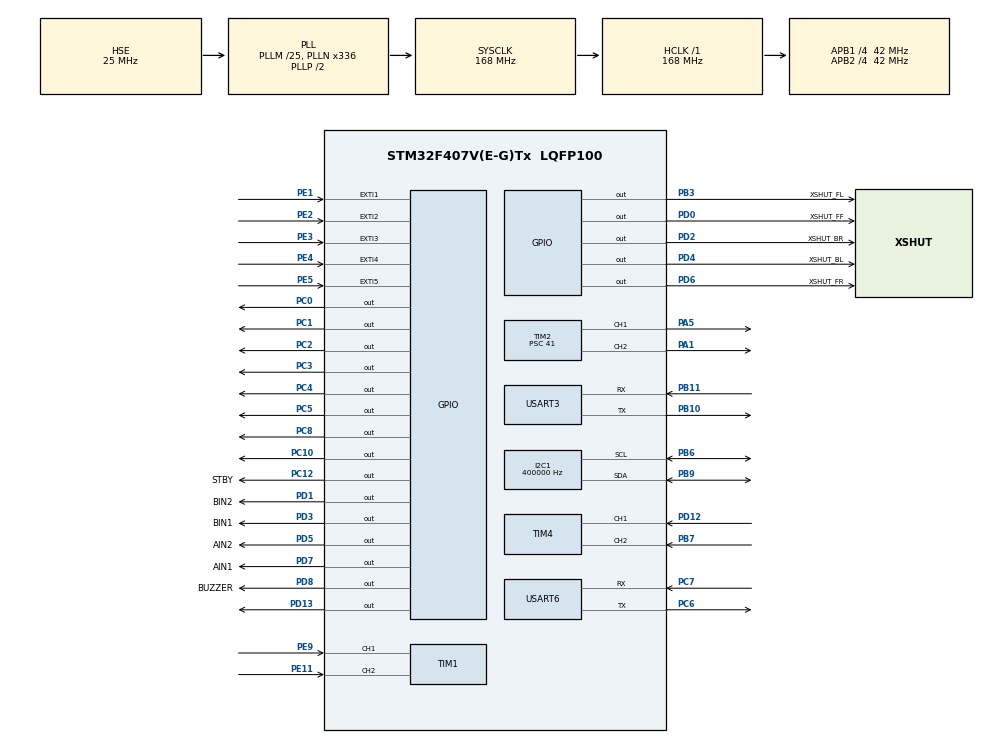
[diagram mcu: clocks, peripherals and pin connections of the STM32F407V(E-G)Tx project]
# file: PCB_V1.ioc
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Dma.Request0=USART3_RX
Dma.USART3_RX.0.Direction=DMA_PERIPH_TO_MEMORY
Dma.USART3_RX.0.FIFOMode=DMA_FIFOMODE_DISABLE
Dma.USART3_RX.0.Instance=DMA1_Stream1
Dma.USART3_RX.0.MemDataAlignment=DMA_MDATAALIGN_BYTE
Dma.USART3_RX.0.MemInc=DMA_MINC_ENABLE
Dma.USART3_RX.0.Mode=DMA_NORMAL
Dma.USART3_RX.0.PeriphDataAlignment=DMA_PDATAALIGN_BYTE
Dma.USART3_RX.0.PeriphInc=DMA_PINC_DISABLE
Dma.USART3_RX.0.Priority=DMA_PRIORITY_LOW
I2C1.AddressingMode=I2C_ADDRESSINGMODE_7BIT
I2C1.ClockSpeed=400000
I2C1.DualAddressMode=I2C_DUALADDRESS_DISABLE
I2C1.GeneralCallMode=I2C_GENERALCALL_DISABLE
I2C1.I2C_Mode=I2C_Fast
I2C1.NoStretchMode=I2C_NOSTRETCH_ENABLE
I2C1.OwnAddress=0
Mcu.Family=STM32F4
Mcu.Name=STM32F407V(E-G)Tx
Mcu.Package=LQFP100
NVIC.DMA1_Stream1_IRQn=true\:0\:0\:true\:false\:true\:false\:true\:true
NVIC.EXTI1_IRQn=true\:0\:0\:false\:false\:true\:true\:true\:true
NVIC.EXTI2_IRQn=true\:0\:0\:false\:false\:true\:true\:true\:true
NVIC.EXTI3_IRQn=true\:0\:0\:false\:false\:true\:true\:true\:true
NVIC.EXTI4_IRQn=true\:0\:0\:false\:false\:true\:true\:true\:true
NVIC.EXTI9_5_IRQn=true\:0\:0\:false\:false\:true\:true\:true\:true
NVIC.PriorityGroup=NVIC_PRIORITYGROUP_4
NVIC.TIM1_BRK_TIM9_IRQn=true\:2\:0\:true\:false\:true\:true\:true\:true
NVIC.TIM1_UP_TIM10_IRQn=true\:3\:0\:true\:false\:true\:true\:true\:true
PA1.Signal=S_TIM2_CH2
PA13.Mode=Serial_Wire
PA13.Signal=SYS_JTMS-SWDIO
PA14.Mode=Serial_Wire
PA14.Signal=SYS_JTCK-SWCLK
PA5.Signal=S_TIM2_CH1_ETR
PB10.GPIO_PuPd=GPIO_PULLUP
PB10.Mode=Asynchronous
PB10.Signal=USART3_TX
PB11.GPIO_PuPd=GPIO_PULLUP
PB11.Mode=Asynchronous
PB11.Signal=USART3_RX
PB3.GPIO_Label=XSHUT_FL
PB3.Signal=GPIO_Output
PB6.GPIO_Pu=GPIO_NOPULL
PB6.Mode=I2C
PB6.Signal=I2C1_SCL
PB7.Signal=S_TIM4_CH2
PB9.GPIO_Pu=GPIO_NOPULL
PB9.Mode=I2C
PB9.Signal=I2C1_SDA
PC0.Signal=GPIO_Output
PC1.Signal=GPIO_Output
PC10.Signal=GPIO_Output
PC12.GPIO_Label=STBY
PC12.Signal=GPIO_Output
PC2.Signal=GPIO_Output
PC3.Signal=GPIO_Output
PC4.Signal=GPIO_Output
PC5.Signal=GPIO_Output
PC6.Mode=Asynchronous
PC6.Signal=USART6_TX
PC7.Mode=Asynchronous
PC7.Signal=USART6_RX
PC8.Signal=GPIO_Output
PD0.GPIO_Label=XSHUT_FF
PD0.Signal=GPIO_Output
PD1.GPIO_Label=BIN2
PD1.Signal=GPIO_Output
PD12.Signal=S_TIM4_CH1
PD13.Signal=GPIO_Output
PD2.GPIO_Label=XSHUT_BR
PD2.Signal=GPIO_Output
PD3.GPIO_Label=BIN1
PD3.Signal=GPIO_Output
PD4.GPIO_Label=XSHUT_BL
PD4.Signal=GPIO_Output
PD5.GPIO_Label=AIN2
PD5.Signal=GPIO_Output
PD6.GPIO_Label=XSHUT_FR
PD6.Signal=GPIO_Output
PD7.GPIO_Label=AIN1
PD7.Signal=GPIO_Output
PD8.GPIO_Label=BUZZER
PD8.GPIO_ModeDefaultOutputPP=GPIO_MODE_OUTPUT_OD
PD8.GPIO_PuPd=GPIO_NOPULL
PD8.PinState=GPIO_PIN_SET
PD8.Signal=GPIO_Output
PE1.Signal=GPXTI1
PE11.Signal=S_TIM1_CH2
PE2.Signal=GPXTI2
PE3.Signal=GPXTI3
PE4.Signal=GPXTI4
PE5.Signal=GPXTI5
PE9.Signal=S_TIM1_CH1
PH0-OSC_IN.Mode=HSE-External-Oscillator
PH0-OSC_IN.Signal=RCC_OSC_IN
PH1-OSC_OUT.Mode=HSE-External-Oscillator
PH1-OSC_OUT.Signal=RCC_OSC_OUT
ProjectManager.HeapSize=0x200
ProjectManager.StackSize=0x400
ProjectManager.TargetToolchain=Makefile
RCC.48MHZClocksFreq_Value=84000000
RCC.AHBFreq_Value=168000000
RCC.APB1CLKDivider=RCC_HCLK_DIV4
RCC.APB1Freq_Value=42000000
RCC.APB1TimFreq_Value=84000000
RCC.APB2CLKDivider=RCC_HCLK_DIV4
RCC.APB2Freq_Value=42000000
RCC.APB2TimFreq_Value=84000000
RCC.CortexFreq_Value=168000000
RCC.FLatency=FLASH_LATENCY_5
RCC.HCLKFreq_Value=168000000
RCC.HSE_VALUE=25000000
RCC.HSI_VALUE=16000000
RCC.LSE_VALUE=32768
RCC.PLLM=25
RCC.PLLN=336
RCC.PLLSourceVirtual=RCC_PLLSOURCE_HSE
RCC.SYSCLKFreq_VALUE=168000000
RCC.SYSCLKSource=RCC_SYSCLKSOURCE_PLLCLK
RCC.VCOOutputFreq_Value=336000000
SH.S_TIM1_CH1.0=TIM1_CH1,Encoder_Interface
SH.S_TIM1_CH2.0=TIM1_CH2,Encoder_Interface
SH.S_TIM2_CH1_ETR.0=TIM2_CH1,PWM Generation1 CH1
SH.S_TIM2_CH2.0=TIM2_CH2,PWM Generation2 CH2
SH.S_TIM4_CH1.0=TIM4_CH1,Encoder_Interface
SH.S_TIM4_CH2.0=TIM4_CH2,Encoder_Interface
TIM1.AutoReloadPreload=TIM_AUTORELOAD_PRELOAD_ENABLE
TIM1.IC1Filter=10
TIM10.Period=200
TIM10.Prescaler=8399
TIM2.AutoReloadPreload=TIM_AUTORELOAD_PRELOAD_ENABLE
TIM2.Channel-PWM\ Generation1\ CH1=TIM_CHANNEL_1
TIM2.Channel-PWM\ Generation2\ CH2=TIM_CHANNEL_2
TIM2.ClockDivision=TIM_CLOCKDIVISION_DIV1
TIM2.CounterMode=TIM_COUNTERMODE_UP
TIM2.OC1Preload_PWM=ENABLE
TIM2.OC2Preload_PWM=ENABLE
TIM2.OCFastMode_PWM-PWM\ Generation1\ CH1=TIM_OCFAST_DISABLE
TIM2.OCFastMode_PWM-PWM\ Generation2\ CH2=TIM_OCFAST_DISABLE
TIM2.OCMode_PWM-PWM\ Generation1\ CH1=TIM_OCMODE_PWM1
TIM2.OCMode_PWM-PWM\ Generation2\ CH2=TIM_OCMODE_PWM1
TIM2.OCPolarity_1=TIM_OCPOLARITY_HIGH
TIM2.OCPolarity_2=TIM_OCPOLARITY_HIGH
TIM2.Period=99
TIM2.Prescaler=41
TIM2.Pulse-PWM\ Generation1\ CH1=0
TIM2.Pulse-PWM\ Generation2\ CH2=0
TIM2.TIM_MasterOutputTrigger=TIM_TRGO_RESET
TIM2.TIM_MasterSlaveMode=TIM_MASTERSLAVEMODE_DISABLE
TIM4.AutoReloadPreload=TIM_AUTORELOAD_PRELOAD_ENABLE
TIM4.IC1Filter=10
TIM4.IC1Polarity=TIM_ICPOLARITY_FALLING
TIM9.Period=250
TIM9.Prescaler=8399
USART3.VirtualMode=VM_ASYNC
USART6.VirtualMode=VM_ASYNC
VP_TIM10_VS_ClockSourceINT.Mode=Enable_Timer
VP_TIM2_VS_ClockSourceINT.Mode=Internal
VP_TIM9_VS_ClockSourceINT.Mode=Internal
board=custom

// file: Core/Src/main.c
/* USER CODE BEGIN Header */
/**
 ******************************************************************************
 * @file           : main.c
 * @brief          : Main program body
 ******************************************************************************
 * @attention
 *
 * Copyright (c) 2023 STMicroelectronics.
 * All rights reserved.
 *
 * This software is licensed under terms that can be found in the LICENSE file
 * in the root directory of this software component.
 * If no LICENSE file comes with this software, it is provided AS-IS.
 *
 ******************************************************************************
 */
/* USER CODE END Header */
#include "main.h"

/* USER CODE BEGIN Includes */
// #include "stdio.h"

#include "AML_MPUSensor.h"
#include "AML_LaserSensor.h"
#include "AML_Keyboard.h"
#include "AML_Encoder.h"
#include "AML_MotorControl.h"
#include "AML_DebugDevice.h"
#include "AML_Remote.h"
#include "AML_Parameter.h"

#include "flood.h"
// #include "AML_Remote.h"
/* USER CODE END Includes */

I2C_HandleTypeDef hi2c1;

TIM_HandleTypeDef htim1;
TIM_HandleTypeDef htim2;
TIM_HandleTypeDef htim4;
TIM_HandleTypeDef htim9;
TIM_HandleTypeDef htim10;

UART_HandleTypeDef huart3;
UART_HandleTypeDef huart6;
DMA_HandleTypeDef hdma_usart3_rx;

/* USER CODE BEGIN PV */
uint8_t ButtonPressed;

int16_t debug[100];
uint8_t checkWorking[] = {0xFF, 0xAA, 0x52};

// uint8_t ReadButton[5];
volatile uint8_t ReadButton;
volatile uint8_t RemarkAfterTurnMode = 0;
volatile uint8_t RemarkWallMode = 1;

double testAngle;
// int16_t LeftValue, RightValue;
double LeftSpeed, RightSpeed;

uint32_t delay = 500;

///////////////////////////////////////////////////////////////////////////////////////////////////////////////////

// choose which algorithm to use in the beginning of the run
int algorithm;
struct dist_maze distances;
struct wall_maze cell_walls_info;
struct stack update_stack;
struct stack move_queue;

/* USER CODE END PV */

void SystemClock_Config(void);
static void MX_GPIO_Init(void);
static void MX_DMA_Init(void);
static void MX_I2C1_Init(void);
static void MX_TIM2_Init(void);
static void MX_USART3_UART_Init(void);
static void MX_TIM1_Init(void);
static void MX_TIM4_Init(void);
static void MX_USART6_UART_Init(void);
static void MX_TIM9_Init(void);
static void MX_TIM10_Init(void);

/* USER CODE BEGIN 0 */
// int fputc(int ch, FILE *f)
// {
//   ITM_SendChar(ch); // send method for SWV
//   return (ch);
// }

void TestLaser(void)
{
  AML_DebugDevice_SetAllLED(GPIO_PIN_RESET);

  AML_LaserSensor_ReadAll();

  AML_DebugDevice_BuzzerBeep(100); // Beep âm thanh trong 100ms
  HAL_Delay(200);

  for (int i = 0; i < 5; i++)
  {
    if (AML_LaserSensor_ReadSingleWithFillter(i) != 0)
    {
      AML_DebugDevice_TurnOnLED(i);
    }
  }

  HAL_Delay(1000); // �?ợi 1 giây

  AML_DebugDevice_BuzzerBeep(100); // Beep âm thanh trong 100ms
}

void TestMotor(void)
{
  AML_DebugDevice_SetAllLED(GPIO_PIN_RESET);

  AML_Encoder_ResetLeftValue();
  AML_Encoder_ResetRightValue();

  while (AML_Encoder_GetLeftValue() < 1000 | AML_Encoder_GetRightValue() < 1000)
  {
    AML_MotorControl_LeftPWM(20);
    AML_MotorControl_RightPWM(20);
  }

  AML_MotorControl_Stop();

  AML_DebugDevice_TurnOnLED(0);

  AML_DebugDevice_BuzzerBeep(50);
  HAL_Delay(50);
  AML_DebugDevice_BuzzerBeep(50);
  HAL_Delay(50);

  AML_Encoder_ResetLeftValue();
  AML_Encoder_ResetRightValue();

  while (AML_Encoder_GetLeftValue() > -1000 | AML_Encoder_GetRightValue() > -1000)
  {
    AML_MotorControl_LeftPWM(-20);
    AML_MotorControl_RightPWM(-20);
  }

  AML_MotorControl_Stop();

  AML_DebugDevice_TurnOnLED(1);

  AML_DebugDevice_BuzzerBeep(50);
  HAL_Delay(50);
  AML_DebugDevice_BuzzerBeep(50);
  HAL_Delay(50);

  HAL_Delay(1000);

  AML_Encoder_ResetLeftValue();
  AML_Encoder_ResetRightValue();
}

void TestMPU()
{
  AML_DebugDevice_SetAllLED(GPIO_PIN_SET);

  while (AML_MPUSensor_GetAngle() == 0)
  {
    AML_DebugDevice_SetAllLED(GPIO_PIN_SET);

    HAL_Delay(100);

    AML_DebugDevice_SetAllLED(GPIO_PIN_RESET);

    HAL_Delay(100);
  }

  AML_DebugDevice_BuzzerBeep(50);
  HAL_Delay(50);
  AML_DebugDevice_BuzzerBeep(50);
  HAL_Delay(50);
  AML_DebugDevice_BuzzerBeep(50);
  HAL_Delay(50);

  AML_DebugDevice_SetAllLED(GPIO_PIN_RESET);
}

void TestTurning()
{
  AML_MPUSensor_ResetAngle();

  AML_MotorControl_TurnLeft90();
  AML_MotorControl_Stop();

  HAL_Delay(1000);

  AML_MotorControl_TurnRight90();
  AML_MotorControl_Stop();

  HAL_Delay(1000);

  AML_MotorControl_TurnLeft180();
  AML_MotorControl_Stop();

  HAL_Delay(1000);

  AML_MotorControl_TurnRight180();
  AML_MotorControl_Stop();
}

void EncoderTest()
{
  AML_MotorControl_TurnOnWallFollow();

  while (AML_Encoder_GetLeftValue() < ENCODER_TICKS_ONE_CELL && ReadButton != 2)
  {
  }

  AML_MotorControl_TurnOffWallFollow();
  AML_MotorControl_ShortBreak('F');
  AML_Encoder_ResetLeftValue();
  AML_DebugDevice_BuzzerBeep(30);

  HAL_Delay(1500);
}

void TestMPUFollow()
{
  AML_MPUSensor_ResetAngle();

  while (1)
  {
    AML_MotorControl_MPUFollow(0);
  }
}

void SystemTest(void)
{
  TestLaser();
  TestMotor();
  TestMPU();
}

/////////////////////////////////////////////////////////////////////////////////////

void TurnOnRemarkAfterTurn()
{
  RemarkAfterTurnMode = 0;
}

void TurnOffRemarkAfterTurn()
{
  RemarkAfterTurnMode = 1;
}

void TurnOnRemarkWall()
{
  RemarkWallMode = 1;
}

void TurnOffRemarkWall()
{
  RemarkWallMode = 0;
}

/////////////////////////////////////////////////////////////////////////////////////

void SetTicks()
{
  HAL_Delay(300);

  ReadButton = 8;

  AML_DebugDevice_SetAllLED(GPIO_PIN_SET);

  while (ReadButton == 8)
  {
  }

  AML_DebugDevice_SetAllLED(GPIO_PIN_RESET);

  if (ReadButton == 0)
  {
    AML_MotorControl_SetCenterPosition();
    AML_DebugDevice_BuzzerBeep(20);
    AML_DebugDevice_TurnOnLED(ReadButton);
    HAL_Delay(300);
    AML_DebugDevice_TurnOffLED(ReadButton);
  }
  else if (ReadButton == 1)
  {
    SetBeforeTurnTicks(0);
    AML_DebugDevice_BuzzerBeep(20);
    // AML_DebugDevice_TurnOnLED(ReadButton);
    // HAL_Delay(300);
    // AML_DebugDevice_TurnOffLED(ReadButton);
  }
  else if (ReadButton == 2)
  {
    SetBeforeTurnTicks(1);
    AML_DebugDevice_BuzzerBeep(20);
    // AML_DebugDevice_TurnOnLED(ReadButton);
    // HAL_Delay(300);
    // AML_DebugDevice_TurnOffLED(ReadButton);
  }
  else if (ReadButton == 3)
  {
    SetAfterTurnTicks(0);
    AML_DebugDevice_BuzzerBeep(20);
    // AML_DebugDevice_TurnOnLED(ReadButton);
    // HAL_Delay(300);
    // AML_DebugDevice_TurnOffLED(ReadButton);
  }
  else if (ReadButton == 4)
  {
    SetAfterTurnTicks(1);
    AML_DebugDevice_BuzzerBeep(20);
    // AML_DebugDevice_TurnOnLED(ReadButton);
    // HAL_Delay(300);
    // AML_DebugDevice_TurnOffLED(ReadButton);
  }
}

void TestMode()
{

  AML_DebugDevice_SetAllLED(GPIO_PIN_SET);

  HAL_Delay(300);
  ReadButton = 8;

  while (ReadButton == 8)
  {
  }

  AML_DebugDevice_SetAllLED(GPIO_PIN_RESET);

  if (ReadButton == 0)
  {
    SystemTest();
  }
  else if (ReadButton == 1)
  {
    TestTurning();
  }
  else if (ReadButton == 2)
  {
    TestMPUFollow();
  }
  else if (ReadButton == 3)
  {
    advanceOneCellVisited();
    AML_MotorControl_ShortBreak('F');
  }
}

void RemarkMode()
{
  HAL_Delay(300);

  ReadButton = 8;

  AML_DebugDevice_SetAllLED(GPIO_PIN_SET);

  while (ReadButton == 8)
  {
  }

  AML_DebugDevice_SetAllLED(GPIO_PIN_RESET);

  if (ReadButton == 0)
  {
    TurnOffRemarkAfterTurn();
    AML_DebugDevice_BuzzerBeep(20);
    AML_DebugDevice_TurnOnLED(ReadButton);
    HAL_Delay(300);
    AML_DebugDevice_TurnOffLED(ReadButton);
  }
  else if (ReadButton == 1)
  {
    TurnOnRemarkAfterTurn();
    AML_DebugDevice_BuzzerBeep(20);
    AML_DebugDevice_TurnOnLED(ReadButton);
    HAL_Delay(300);
    AML_DebugDevice_TurnOffLED(ReadButton);
  }
  else if (ReadButton == 2)
  {
    TurnOffRemarkWall();
    AML_DebugDevice_BuzzerBeep(20);
    AML_DebugDevice_TurnOnLED(ReadButton);
    HAL_Delay(300);
    AML_DebugDevice_TurnOffLED(ReadButton);
  }
  else if (ReadButton == 3)
  {
    TurnOnRemarkAfterTurn();
    AML_DebugDevice_BuzzerBeep(20);
    AML_DebugDevice_TurnOnLED(ReadButton);
    HAL_Delay(300);
    AML_DebugDevice_TurnOffLED(ReadButton);
  }
}

////////////////////////////////////////////////////////////////////////////////////

void Run(int InitDirection)
{

  AML_DebugDevice_SetAllLED(GPIO_PIN_SET);
  AML_DebugDevice_BuzzerBeep(100);
  HAL_Delay(100);
  AML_DebugDevice_BuzzerBeep(100);

  ReadButton = 8;

  while (ReadButton == 8)
  {
  }

  algorithm = ReadButton; // huong di uu tien

  for (int i = 0; i < 3; i++)
  {
    AML_DebugDevice_SetAllLED(GPIO_PIN_SET);
    AML_DebugDevice_BuzzerBeep(150);
    AML_DebugDevice_SetAllLED(GPIO_PIN_RESET);
    HAL_Delay(150);
  }

  AML_MPUSensor_ResetAngle();
  HAL_Delay(1500);

  // algorithm = wallFavor();                 // thay bang ham doc laser
  // algorithm = AML_LaserSensor_WallFavor(); // can sua lai

  // HAL_GPIO_WritePin(GPIOA, GPIO_PIN_6, GPIO_PIN_RESET);
  // HAL_Delay(1000);

  // initialize all the structs that we need for this to work
  // change this coordinate for testing of different
  // targets for floodfill
  struct coor target;
  init_coor(&target, 8, 7);

  // to flood to center set third parameter to 1
  init_distance_maze(&distances, &target, 1);

  // initialize the walls
  init_wall_maze(&cell_walls_info);

  update_stack.index = 0;

  int direction = InitDirection;

  if (direction == NORTH)
  {
    // if (AML_LaserSensor_ReadSingleWithoutFillter(BR) < WALL_IN_RIGHT)
    // {
    //   cell_walls_info.cells[0][0].walls[EAST] = 1;
    // }
    // else
    // {
    //   cell_walls_info.cells[0][0].walls[EAST] = 0;
    // }

    cell_walls_info.cells[0][0].walls[EAST] = 1;
  }

  if (direction == EAST)
  {
    // if (AML_LaserSensor_ReadSingleWithoutFillter(BL) < WALL_IN_LEFT)
    // {
    //   cell_walls_info.cells[0][0].walls[NORTH] = 1;
    // }
    // else
    // {
    //   cell_walls_info.cells[0][0].walls[NORTH] = 0;
    // }

    cell_walls_info.cells[0][0].walls[NORTH] = 1;
  }
  // set east, south, west wall of start cell to true

  cell_walls_info.cells[0][0].walls[SOUTH] = 1;
  cell_walls_info.cells[0][0].walls[WEST] = 1;

  // cell_walls_info.cells[0][0].visited = 1;

  struct coor c;
  init_coor(&c, 0, 0);

  direction = floodFill(&distances, &c, &cell_walls_info, algorithm, direction, &update_stack);

  advanceOneCellVisited();
  AML_MotorControl_ShortBreak('F');

  for (int i = 0; i < 20; i++)
  {
    AML_DebugDevice_SetAllLED(GPIO_PIN_SET);
    AML_DebugDevice_BuzzerBeep(50);
    HAL_Delay(100);
    AML_DebugDevice_SetAllLED(GPIO_PIN_RESET);
    HAL_Delay(100);
  }

  ////////////////////////////////////////////

  AML_MotorControl_Stop();
  return;

  /////////////////////////////////////////////////

  direction = centerMovement(&cell_walls_info, &c, direction);

  // ONCE IT REACHES HERE, IT HAS REACHED THE CENTER OF THE MAZE
  // Mouse has made it to center, so flood back to start
  init_coor(&target, 0, 0);
  init_distance_maze(&distances, &target, 0);

  // for (int i = 0; i < 10; i++)
  // {
  //   AML_DebugDevice_SetAllLED(GPIO_PIN_SET);
  //   AML_DebugDevice_BuzzerBeep(50);
  //   HAL_Delay(100);
  //   AML_DebugDevice_SetAllLED(GPIO_PIN_RESET);
  //   HAL_Delay(100);
  // }

  // center to start
  logicalFlood(&distances, &c, &cell_walls_info, direction, direction, &update_stack);
  direction = floodFill(&distances, &c, &cell_walls_info, direction, direction, &update_stack);
  int difference = direction - NORTH;
  switch (difference)
  {
  case -3:
    // leftStillTurn();
    // AML_MotorControl_LeftStillTurn();
    AML_MotorControl_TurnLeft90();

    break;
  case -2:
    // backward180StillTurn();
    // AML_MotorControl_BackStillTurn();
    AML_MotorControl_TurnLeft180();
    break;
  case -1:
    // rightStillTurn();
    // AML_MotorControl_RightStillTurn();
    AML_MotorControl_TurnRight90();
    break;
  case 0:
    break;
  case 1:
    // leftStillTurn();
    // AML_MotorControl_LeftStillTurn();
    AML_MotorControl_TurnLeft90();
    break;
  case 2:
    // backward180StillTurn();
    // AML_MotorControl_BackStillTurn();
    AML_MotorControl_TurnLeft180();
    break;
  case 3:
    // rightStillTurn();
    // AML_MotorControl_RightStillTurn();
    AML_MotorControl_TurnRight90();
    break;
  default:
    // turnOnLEDS();
    break;
  }

  direction = NORTH;
  // start to center in "shortest path"
  init_distance_maze(&distances, &c, 1);
  logicalFlood(&distances, &c, &cell_walls_info, direction, direction, &update_stack);

  // lockInterruptDisable_TIM3();
  AML_MotorControl_TurnOffWallFollow();

  // leftMotorPWMChangeBackward(200);
  // rightMotorPWMChangeBackward(200);

  // custom_delay(2000);
  AML_MotorControl_LeftPWM(-20);
  AML_MotorControl_RightPWM(-20);
  HAL_Delay(2000);
  AML_MPUSensor_ResetAngle();
  AML_Encoder_ResetLeftValue();
  AML_Encoder_ResetRightValue();

  // motorStop();
  AML_MotorControl_Stop();
  // HAL_Delay(100);

  // wallFavor();

  for (int i = 0; i < 5; i++)
  {
    AML_DebugDevice_SetAllLED(GPIO_PIN_SET);
    AML_DebugDevice_BuzzerBeep(50);
    HAL_Delay(100);
    AML_DebugDevice_SetAllLED(GPIO_PIN_RESET);
    HAL_Delay(100);
  }

  return;

  // custom_delay(1000);

  // cell_walls_info.cells[0][0].visited = 1;

  shortestPath(&distances, &c, &cell_walls_info, direction, direction, &update_stack);

  for (int i = 0; i < 5; i++)
  {
    AML_DebugDevice_SetAllLED(GPIO_PIN_SET);
    AML_DebugDevice_BuzzerBeep(50);
    HAL_Delay(100);
    AML_DebugDevice_SetAllLED(GPIO_PIN_RESET);
    HAL_Delay(100);
  }

  // motorStop();
  AML_MotorControl_Stop();

  // turnOnLEDS();

  // HAL_Delay(3000);
}

void ShortestPath()
{
  for (int i = 0; i < 5; i++)
  {
    AML_DebugDevice_SetAllLED(GPIO_PIN_SET);
    AML_DebugDevice_BuzzerBeep(50);
    HAL_Delay(100);
    AML_DebugDevice_SetAllLED(GPIO_PIN_RESET);
    HAL_Delay(100);
  }

  AML_MPUSensor_ResetAngle();
  AML_MotorControl_ResetTempSetpoint();

  int direction = NORTH;
  struct coor c;
  init_coor(&c, 0, 0);

  logicalFlood(&distances, &c, &cell_walls_info, direction, direction, &update_stack);

  HAL_Delay(1000);

  shortestPath(&distances, &c, &cell_walls_info, direction, direction, &update_stack);

  for (int i = 0; i < 20; i++)
  {
    AML_DebugDevice_SetAllLED(GPIO_PIN_SET);
    AML_DebugDevice_BuzzerBeep(50);
    HAL_Delay(100);
    AML_DebugDevice_SetAllLED(GPIO_PIN_RESET);
    HAL_Delay(100);
  }

  return;
}

void Move()
{
  AML_MotorControl_TurnOnWallFollow();

  if (AML_LaserSensor_ReadSingleWithoutFillter(BL) > 170)
  {
    AML_MotorControl_LeftStillTurn();
  }
  else if (AML_LaserSensor_ReadSingleWithoutFillter(BR) > 170)
  {
    AML_MotorControl_RightStillTurn();
  }
  else if (AML_LaserSensor_ReadSingleWithoutFillter(FF) < 60 && AML_LaserSensor_ReadSingleWithoutFillter(BL) < 170 && AML_LaserSensor_ReadSingleWithoutFillter(BR) < 170)
  {
    AML_MotorControl_BackStillTurn();
  }
  else if (AML_LaserSensor_ReadSingleWithoutFillter(BL) > 170 && AML_LaserSensor_ReadSingleWithoutFillter(BR) > 170)
  {
    //   // AML_Encoder_ResetLeftValue();

    //   // while (AML_Encoder_GetLeftValue() < 400 && ReadButton != 2)
    //   // {
    //   //   AML_MotorControl_LeftPWM(20);
    //   //   AML_MotorControl_RightPWM(20);
    //   // }

    //   // AML_MotorControl_Stop();
    AML_MotorControl_LeftStillTurn();
    //   // AML_Encoder_ResetLeftValue();
  }
}

void RunMode()
{

  AML_DebugDevice_BuzzerBeep(20);
  AML_DebugDevice_SetAllLED(GPIO_PIN_SET);

  HAL_Delay(100);

  AML_DebugDevice_SetAllLED(GPIO_PIN_RESET);

  HAL_Delay(100);

  AML_DebugDevice_SetAllLED(GPIO_PIN_SET);

  HAL_Delay(200);

  ReadButton = 8;

  uint32_t now = HAL_GetTick();

  while (ReadButton == 8)
  {
    if (HAL_GetTick() - now > 150)
    {
      AML_DebugDevice_ToggleAllLED();
      now = HAL_GetTick();
    }
  }

  if (ReadButton == 0)
  {
    Run(NORTH);
  }
  else if (ReadButton == 1)
  {
    Run(EAST);
  }
}

////////////////////////////////////////////////////////////////////////////////////////////////

////////////////////////////////////////////////////////////////////////////////////////////////

/* USER CODE END 0 */

int main(void)
{

  /* MCU Configuration--------------------------------------------------------*/

  /* Reset of all peripherals, Initializes the Flash interface and the Systick. */
  HAL_Init();

  /* Configure the system clock */
  SystemClock_Config();

  /* Initialize all configured peripherals */
  MX_GPIO_Init();
  MX_DMA_Init();
  MX_I2C1_Init();
  MX_TIM2_Init();
  MX_USART3_UART_Init();
  MX_TIM1_Init();
  MX_TIM4_Init();
  MX_USART6_UART_Init();
  MX_TIM9_Init();
  MX_TIM10_Init();
  /* USER CODE BEGIN 2 */
  AML_MPUSensor_Setup();
  // AML_Keyboard_Setup();
  AML_LaserSensor_Setup();
  AML_Encoder_Setup();
  AML_MotorControl_Setup();
  AML_Remote_Setup();

  HAL_TIM_Base_Start_IT(&htim10);

  ReadButton = 8;

  // for (int i = 0; i < 3; i++)
  // {
  //   AML_LaserSensor_ReadAll();
  //   HAL_Delay(35);
  // }

  AML_LaserSensor_ReadAll();
  AML_LaserSensor_ReadAll();
  AML_LaserSensor_ReadAll();

  AML_DebugDevice_BuzzerBeep(20);

  // AML_DebugDevice_TurnOnIT();

  // HAL_Delay(5000);

  // AML_DebugDevice_TurnOffIT();

  /* USER CODE END 2 */

  /* Infinite loop */
  /* USER CODE BEGIN WHILE */
  while (1)
  {
    if (ButtonPressed)
    {
      AML_DebugDevice_BuzzerBeep(20);
      ButtonPressed = 0;
    }

    // AML_LaserSensor_ReadAll();
    // for (int i = 0; i < 5; i++)
    // {
    //   debug[i] = AML_LaserSensor_ReadSingleWithFillter(i);
    // }

    // AML_LaserSensor_ReadAll();

    // AML_LaserSensor_ReadSingleWithFillter(FF);

    if (ReadButton == 0) // set left wall value
    {
      SetTicks();
      ReadButton = 8;
    }
    else if (ReadButton == 1) // set right wall value
    {
      RemarkMode();
      ReadButton = 8;
    }
    else if (ReadButton == 2)
    {
      TestMode();
      ReadButton = 8;
    }
    else if (ReadButton == 3)
    {
      ShortestPath();
      ReadButton = 8;
    }
    else if (ReadButton == 4)
    {
      RunMode();
      ReadButton = 8;
    }

    testAngle = AML_MPUSensor_GetAngle();

    // AML_MotorControl_LeftPWM(-6);
    // AML_MotorControl_RightPWM(6);

    // debug[13] = AML_Encoder_GetLeftValue();
    // debug[14] = AML_Encoder_GetRightValue();

    /* USER CODE END WHILE */

  }
}

void SystemClock_Config(void)
{
  RCC_OscInitTypeDef RCC_OscInitStruct = {0};
  RCC_ClkInitTypeDef RCC_ClkInitStruct = {0};

  /** Configure the main internal regulator output voltage
  */
  __HAL_RCC_PWR_CLK_ENABLE();
  __HAL_PWR_VOLTAGESCALING_CONFIG(PWR_REGULATOR_VOLTAGE_SCALE1);

  /** Initializes the RCC Oscillators according to the specified parameters
  * in the RCC_OscInitTypeDef structure.
  */
  RCC_OscInitStruct.OscillatorType = RCC_OSCILLATORTYPE_HSE;
  RCC_OscInitStruct.HSEState = RCC_HSE_ON;
  RCC_OscInitStruct.PLL.PLLState = RCC_PLL_ON;
  RCC_OscInitStruct.PLL.PLLSource = RCC_PLLSOURCE_HSE;
  RCC_OscInitStruct.PLL.PLLM = 25;
  RCC_OscInitStruct.PLL.PLLN = 336;
  RCC_OscInitStruct.PLL.PLLP = RCC_PLLP_DIV2;
  RCC_OscInitStruct.PLL.PLLQ = 4;
  if (HAL_RCC_OscConfig(&RCC_OscInitStruct) != HAL_OK)
  {
    Error_Handler();
  }

  /** Initializes the CPU, AHB and APB buses clocks
  */
  RCC_ClkInitStruct.ClockType = RCC_CLOCKTYPE_HCLK|RCC_CLOCKTYPE_SYSCLK
                              |RCC_CLOCKTYPE_PCLK1|RCC_CLOCKTYPE_PCLK2;
  RCC_ClkInitStruct.SYSCLKSource = RCC_SYSCLKSOURCE_PLLCLK;
  RCC_ClkInitStruct.AHBCLKDivider = RCC_SYSCLK_DIV1;
  RCC_ClkInitStruct.APB1CLKDivider = RCC_HCLK_DIV4;
  RCC_ClkInitStruct.APB2CLKDivider = RCC_HCLK_DIV4;

  if (HAL_RCC_ClockConfig(&RCC_ClkInitStruct, FLASH_LATENCY_5) != HAL_OK)
  {
    Error_Handler();
  }
}

static void MX_I2C1_Init(void)
{

  hi2c1.Instance = I2C1;
  hi2c1.Init.ClockSpeed = 400000;
  hi2c1.Init.DutyCycle = I2C_DUTYCYCLE_2;
  hi2c1.Init.OwnAddress1 = 0;
  hi2c1.Init.AddressingMode = I2C_ADDRESSINGMODE_7BIT;
  hi2c1.Init.DualAddressMode = I2C_DUALADDRESS_DISABLE;
  hi2c1.Init.OwnAddress2 = 0;
  hi2c1.Init.GeneralCallMode = I2C_GENERALCALL_DISABLE;
  hi2c1.Init.NoStretchMode = I2C_NOSTRETCH_ENABLE;
  if (HAL_I2C_Init(&hi2c1) != HAL_OK)
  {
    Error_Handler();
  }

}

static void MX_TIM1_Init(void)
{

  TIM_Encoder_InitTypeDef sConfig = {0};
  TIM_MasterConfigTypeDef sMasterConfig = {0};

  htim1.Instance = TIM1;
  htim1.Init.Prescaler = 0;
  htim1.Init.CounterMode = TIM_COUNTERMODE_UP;
  htim1.Init.Period = 65535;
  htim1.Init.ClockDivision = TIM_CLOCKDIVISION_DIV1;
  htim1.Init.RepetitionCounter = 0;
  htim1.Init.AutoReloadPreload = TIM_AUTORELOAD_PRELOAD_ENABLE;
  sConfig.EncoderMode = TIM_ENCODERMODE_TI1;
  sConfig.IC1Polarity = TIM_ICPOLARITY_RISING;
  sConfig.IC1Selection = TIM_ICSELECTION_DIRECTTI;
  sConfig.IC1Prescaler = TIM_ICPSC_DIV1;
  sConfig.IC1Filter = 10;
  sConfig.IC2Polarity = TIM_ICPOLARITY_RISING;
  sConfig.IC2Selection = TIM_ICSELECTION_DIRECTTI;
  sConfig.IC2Prescaler = TIM_ICPSC_DIV1;
  sConfig.IC2Filter = 0;
  if (HAL_TIM_Encoder_Init(&htim1, &sConfig) != HAL_OK)
  {
    Error_Handler();
  }
  sMasterConfig.MasterOutputTrigger = TIM_TRGO_RESET;
  sMasterConfig.MasterSlaveMode = TIM_MASTERSLAVEMODE_DISABLE;
  if (HAL_TIMEx_MasterConfigSynchronization(&htim1, &sMasterConfig) != HAL_OK)
  {
    Error_Handler();
  }

}

static void MX_TIM2_Init(void)
{

  TIM_ClockConfigTypeDef sClockSourceConfig = {0};
  TIM_MasterConfigTypeDef sMasterConfig = {0};
  TIM_OC_InitTypeDef sConfigOC = {0};

  htim2.Instance = TIM2;
  htim2.Init.Prescaler = 41;
  htim2.Init.CounterMode = TIM_COUNTERMODE_UP;
  htim2.Init.Period = 99;
  htim2.Init.ClockDivision = TIM_CLOCKDIVISION_DIV1;
  htim2.Init.AutoReloadPreload = TIM_AUTORELOAD_PRELOAD_ENABLE;
  if (HAL_TIM_Base_Init(&htim2) != HAL_OK)
  {
    Error_Handler();
  }
  sClockSourceConfig.ClockSource = TIM_CLOCKSOURCE_INTERNAL;
  if (HAL_TIM_ConfigClockSource(&htim2, &sClockSourceConfig) != HAL_OK)
  {
    Error_Handler();
  }
  if (HAL_TIM_PWM_Init(&htim2) != HAL_OK)
  {
    Error_Handler();
  }
  sMasterConfig.MasterOutputTrigger = TIM_TRGO_RESET;
  sMasterConfig.MasterSlaveMode = TIM_MASTERSLAVEMODE_DISABLE;
  if (HAL_TIMEx_MasterConfigSynchronization(&htim2, &sMasterConfig) != HAL_OK)
  {
    Error_Handler();
  }
  sConfigOC.OCMode = TIM_OCMODE_PWM1;
  sConfigOC.Pulse = 0;
  sConfigOC.OCPolarity = TIM_OCPOLARITY_HIGH;
  sConfigOC.OCFastMode = TIM_OCFAST_DISABLE;
  if (HAL_TIM_PWM_ConfigChannel(&htim2, &sConfigOC, TIM_CHANNEL_1) != HAL_OK)
  {
    Error_Handler();
  }
  if (HAL_TIM_PWM_ConfigChannel(&htim2, &sConfigOC, TIM_CHANNEL_2) != HAL_OK)
  {
    Error_Handler();
  }
  HAL_TIM_MspPostInit(&htim2);

}

static void MX_TIM4_Init(void)
{

  TIM_Encoder_InitTypeDef sConfig = {0};
  TIM_MasterConfigTypeDef sMasterConfig = {0};

  htim4.Instance = TIM4;
  htim4.Init.Prescaler = 0;
  htim4.Init.CounterMode = TIM_COUNTERMODE_UP;
  htim4.Init.Period = 65535;
  htim4.Init.ClockDivision = TIM_CLOCKDIVISION_DIV1;
  htim4.Init.AutoReloadPreload = TIM_AUTORELOAD_PRELOAD_ENABLE;
  sConfig.EncoderMode = TIM_ENCODERMODE_TI1;
  sConfig.IC1Polarity = TIM_ICPOLARITY_FALLING;
  sConfig.IC1Selection = TIM_ICSELECTION_DIRECTTI;
  sConfig.IC1Prescaler = TIM_ICPSC_DIV1;
  sConfig.IC1Filter = 10;
  sConfig.IC2Polarity = TIM_ICPOLARITY_RISING;
  sConfig.IC2Selection = TIM_ICSELECTION_DIRECTTI;
  sConfig.IC2Prescaler = TIM_ICPSC_DIV1;
  sConfig.IC2Filter = 0;
  if (HAL_TIM_Encoder_Init(&htim4, &sConfig) != HAL_OK)
  {
    Error_Handler();
  }
  sMasterConfig.MasterOutputTrigger = TIM_TRGO_RESET;
  sMasterConfig.MasterSlaveMode = TIM_MASTERSLAVEMODE_DISABLE;
  if (HAL_TIMEx_MasterConfigSynchronization(&htim4, &sMasterConfig) != HAL_OK)
  {
    Error_Handler();
  }

}

static void MX_TIM9_Init(void)
{

  TIM_ClockConfigTypeDef sClockSourceConfig = {0};

  htim9.Instance = TIM9;
  htim9.Init.Prescaler = 8399;
  htim9.Init.CounterMode = TIM_COUNTERMODE_UP;
  htim9.Init.Period = 250;
  htim9.Init.ClockDivision = TIM_CLOCKDIVISION_DIV1;
  htim9.Init.AutoReloadPreload = TIM_AUTORELOAD_PRELOAD_DISABLE;
  if (HAL_TIM_Base_Init(&htim9) != HAL_OK)
  {
    Error_Handler();
  }
  sClockSourceConfig.ClockSource = TIM_CLOCKSOURCE_INTERNAL;
  if (HAL_TIM_ConfigClockSource(&htim9, &sClockSourceConfig) != HAL_OK)
  {
    Error_Handler();
  }

}

static void MX_TIM10_Init(void)
{

  htim10.Instance = TIM10;
  htim10.Init.Prescaler = 8399;
  htim10.Init.CounterMode = TIM_COUNTERMODE_UP;
  htim10.Init.Period = 200;
  htim10.Init.ClockDivision = TIM_CLOCKDIVISION_DIV1;
  htim10.Init.AutoReloadPreload = TIM_AUTORELOAD_PRELOAD_DISABLE;
  if (HAL_TIM_Base_Init(&htim10) != HAL_OK)
  {
    Error_Handler();
  }

}

static void MX_USART3_UART_Init(void)
{

  huart3.Instance = USART3;
  huart3.Init.BaudRate = 115200;
  huart3.Init.WordLength = UART_WORDLENGTH_8B;
  huart3.Init.StopBits = UART_STOPBITS_1;
  huart3.Init.Parity = UART_PARITY_NONE;
  huart3.Init.Mode = UART_MODE_TX_RX;
  huart3.Init.HwFlowCtl = UART_HWCONTROL_NONE;
  huart3.Init.OverSampling = UART_OVERSAMPLING_16;
  if (HAL_UART_Init(&huart3) != HAL_OK)
  {
    Error_Handler();
  }

}

static void MX_USART6_UART_Init(void)
{

  huart6.Instance = USART6;
  huart6.Init.BaudRate = 115200;
  huart6.Init.WordLength = UART_WORDLENGTH_8B;
  huart6.Init.StopBits = UART_STOPBITS_1;
  huart6.Init.Parity = UART_PARITY_NONE;
  huart6.Init.Mode = UART_MODE_TX_RX;
  huart6.Init.HwFlowCtl = UART_HWCONTROL_NONE;
  huart6.Init.OverSampling = UART_OVERSAMPLING_16;
  if (HAL_UART_Init(&huart6) != HAL_OK)
  {
    Error_Handler();
  }

}

static void MX_DMA_Init(void)
{

  /* DMA controller clock enable */
  __HAL_RCC_DMA1_CLK_ENABLE();

  /* DMA interrupt init */
  /* DMA1_Stream1_IRQn interrupt configuration */
  HAL_NVIC_SetPriority(DMA1_Stream1_IRQn, 0, 0);
  HAL_NVIC_EnableIRQ(DMA1_Stream1_IRQn);

}

static void MX_GPIO_Init(void)
{
  GPIO_InitTypeDef GPIO_InitStruct = {0};

  /* GPIO Ports Clock Enable */
  __HAL_RCC_GPIOE_CLK_ENABLE();
  __HAL_RCC_GPIOH_CLK_ENABLE();
  __HAL_RCC_GPIOC_CLK_ENABLE();
  __HAL_RCC_GPIOA_CLK_ENABLE();
  __HAL_RCC_GPIOB_CLK_ENABLE();
  __HAL_RCC_GPIOD_CLK_ENABLE();

  /*Configure GPIO pin Output Level */
  HAL_GPIO_WritePin(GPIOC, GPIO_PIN_0|GPIO_PIN_1|GPIO_PIN_2|GPIO_PIN_3
                          |GPIO_PIN_4|GPIO_PIN_5|GPIO_PIN_8|GPIO_PIN_10
                          |STBY_Pin, GPIO_PIN_RESET);

  /*Configure GPIO pin Output Level */
  HAL_GPIO_WritePin(BUZZER_GPIO_Port, BUZZER_Pin, GPIO_PIN_SET);

  /*Configure GPIO pin Output Level */
  HAL_GPIO_WritePin(GPIOD, GPIO_PIN_13|XSHUT_FF_Pin|BIN2_Pin|XSHUT_BR_Pin
                          |BIN1_Pin|XSHUT_BL_Pin|AIN2_Pin|XSHUT_FR_Pin
                          |AIN1_Pin, GPIO_PIN_RESET);

  /*Configure GPIO pin Output Level */
  HAL_GPIO_WritePin(XSHUT_FL_GPIO_Port, XSHUT_FL_Pin, GPIO_PIN_RESET);

  /*Configure GPIO pins : PE2 PE3 PE4 PE5
                           PE1 */
  GPIO_InitStruct.Pin = GPIO_PIN_2|GPIO_PIN_3|GPIO_PIN_4|GPIO_PIN_5
                          |GPIO_PIN_1;
  GPIO_InitStruct.Mode = GPIO_MODE_IT_RISING;
  GPIO_InitStruct.Pull = GPIO_NOPULL;
  HAL_GPIO_Init(GPIOE, &GPIO_InitStruct);

  /*Configure GPIO pins : PC0 PC1 PC2 PC3
                           PC4 PC5 PC8 PC10
                           STBY_Pin */
  GPIO_InitStruct.Pin = GPIO_PIN_0|GPIO_PIN_1|GPIO_PIN_2|GPIO_PIN_3
                          |GPIO_PIN_4|GPIO_PIN_5|GPIO_PIN_8|GPIO_PIN_10
                          |STBY_Pin;
  GPIO_InitStruct.Mode = GPIO_MODE_OUTPUT_PP;
  GPIO_InitStruct.Pull = GPIO_NOPULL;
  GPIO_InitStruct.Speed = GPIO_SPEED_FREQ_LOW;
  HAL_GPIO_Init(GPIOC, &GPIO_InitStruct);

  /*Configure GPIO pin : BUZZER_Pin */
  GPIO_InitStruct.Pin = BUZZER_Pin;
  GPIO_InitStruct.Mode = GPIO_MODE_OUTPUT_OD;
  GPIO_InitStruct.Pull = GPIO_NOPULL;
  GPIO_InitStruct.Speed = GPIO_SPEED_FREQ_LOW;
  HAL_GPIO_Init(BUZZER_GPIO_Port, &GPIO_InitStruct);

  /*Configure GPIO pins : PD13 XSHUT_FF_Pin BIN2_Pin XSHUT_BR_Pin
                           BIN1_Pin XSHUT_BL_Pin AIN2_Pin XSHUT_FR_Pin
                           AIN1_Pin */
  GPIO_InitStruct.Pin = GPIO_PIN_13|XSHUT_FF_Pin|BIN2_Pin|XSHUT_BR_Pin
                          |BIN1_Pin|XSHUT_BL_Pin|AIN2_Pin|XSHUT_FR_Pin
                          |AIN1_Pin;
  GPIO_InitStruct.Mode = GPIO_MODE_OUTPUT_PP;
  GPIO_InitStruct.Pull = GPIO_NOPULL;
  GPIO_InitStruct.Speed = GPIO_SPEED_FREQ_LOW;
  HAL_GPIO_Init(GPIOD, &GPIO_InitStruct);

  /*Configure GPIO pin : XSHUT_FL_Pin */
  GPIO_InitStruct.Pin = XSHUT_FL_Pin;
  GPIO_InitStruct.Mode = GPIO_MODE_OUTPUT_PP;
  GPIO_InitStruct.Pull = GPIO_NOPULL;
  GPIO_InitStruct.Speed = GPIO_SPEED_FREQ_LOW;
  HAL_GPIO_Init(XSHUT_FL_GPIO_Port, &GPIO_InitStruct);

  /* EXTI interrupt init*/
  HAL_NVIC_SetPriority(EXTI1_IRQn, 0, 0);
  HAL_NVIC_EnableIRQ(EXTI1_IRQn);

  HAL_NVIC_SetPriority(EXTI2_IRQn, 0, 0);
  HAL_NVIC_EnableIRQ(EXTI2_IRQn);

  HAL_NVIC_SetPriority(EXTI3_IRQn, 0, 0);
  HAL_NVIC_EnableIRQ(EXTI3_IRQn);

  HAL_NVIC_SetPriority(EXTI4_IRQn, 0, 0);
  HAL_NVIC_EnableIRQ(EXTI4_IRQn);

  HAL_NVIC_SetPriority(EXTI9_5_IRQn, 0, 0);
  HAL_NVIC_EnableIRQ(EXTI9_5_IRQn);

}

void Error_Handler(void)
{
  __disable_irq();
  while (1)
  {
  }
}
